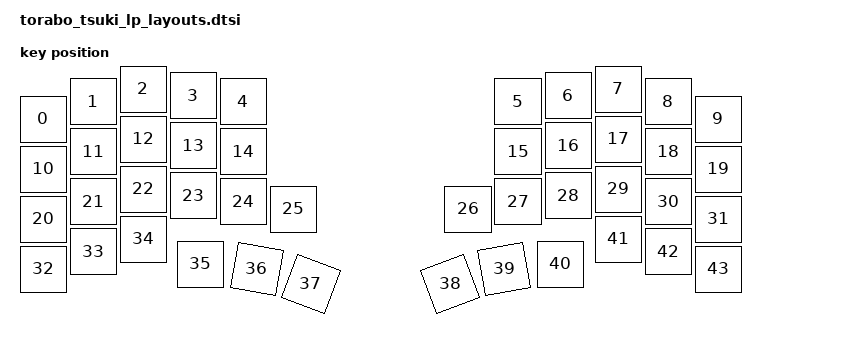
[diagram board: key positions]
#include <physical_layouts.dtsi>

/ {
    physical_layout_s: physical_layout_0 {
        keys  //                     w   h    x    y     rot    rx    ry
            = <&key_physical_attrs 100 100    0   60       0     0     0>
            , <&key_physical_attrs 100 100  100   25       0     0     0>
            , <&key_physical_attrs 100 100  200    0       0     0     0>
            , <&key_physical_attrs 100 100  300   13       0     0     0>
            , <&key_physical_attrs 100 100  400   25       0     0     0>
            , <&key_physical_attrs 100 100  950   25       0     0     0>
            , <&key_physical_attrs 100 100 1050   13       0     0     0>
            , <&key_physical_attrs 100 100 1150    0       0     0     0>
            , <&key_physical_attrs 100 100 1250   25       0     0     0>
            , <&key_physical_attrs 100 100 1350   60       0     0     0>
            , <&key_physical_attrs 100 100    0  160       0     0     0>
            , <&key_physical_attrs 100 100  100  125       0     0     0>
            , <&key_physical_attrs 100 100  200  100       0     0     0>
            , <&key_physical_attrs 100 100  300  113       0     0     0>
            , <&key_physical_attrs 100 100  400  125       0     0     0>
            , <&key_physical_attrs 100 100  950  125       0     0     0>
            , <&key_physical_attrs 100 100 1050  113       0     0     0>
            , <&key_physical_attrs 100 100 1150  100       0     0     0>
            , <&key_physical_attrs 100 100 1250  125       0     0     0>
            , <&key_physical_attrs 100 100 1350  160       0     0     0>
            , <&key_physical_attrs 100 100    0  260       0     0     0>
            , <&key_physical_attrs 100 100  100  225       0     0     0>
            , <&key_physical_attrs 100 100  200  200       0     0     0>
            , <&key_physical_attrs 100 100  300  213       0     0     0>
            , <&key_physical_attrs 100 100  400  225       0     0     0>
            , <&key_physical_attrs 100 100  500  240       0     0     0>
            , <&key_physical_attrs 100 100  850  240       0     0     0>
            , <&key_physical_attrs 100 100  950  225       0     0     0>
            , <&key_physical_attrs 100 100 1050  213       0     0     0>
            , <&key_physical_attrs 100 100 1150  200       0     0     0>
            , <&key_physical_attrs 100 100 1250  225       0     0     0>
            , <&key_physical_attrs 100 100 1350  260       0     0     0>
            , <&key_physical_attrs 100 100    0  360       0     0     0>
            , <&key_physical_attrs 100 100  100  325       0     0     0>
            , <&key_physical_attrs 100 100  200  300       0     0     0>
            , <&key_physical_attrs 100 100  315  350       0     0     0>
            , <&key_physical_attrs 100 100  420  350    1000   420   450>
            , <&key_physical_attrs 100 100  522  371    2000   525   470>
            , <&key_physical_attrs 100 100  828  371 (-2000)   925   470>
            , <&key_physical_attrs 100 100  930  350 (-1000)  1030   450>
            , <&key_physical_attrs 100 100 1035  350       0     0     0>
            , <&key_physical_attrs 100 100 1150  300       0     0     0>
            , <&key_physical_attrs 100 100 1250  325       0     0     0>
            , <&key_physical_attrs 100 100 1350  360       0     0     0>
            ;
    };
};
